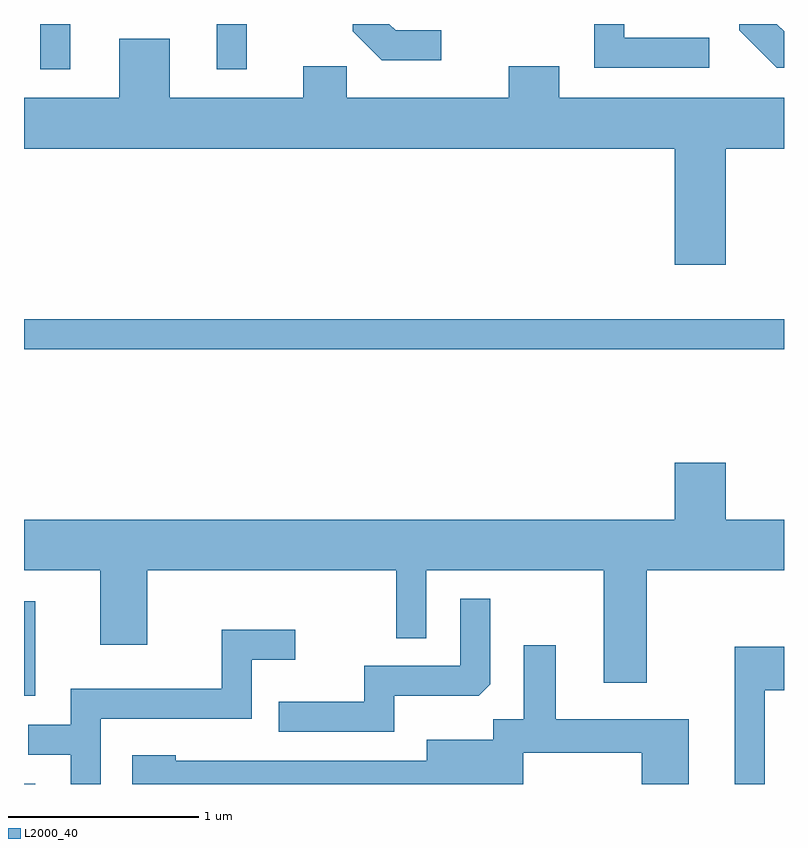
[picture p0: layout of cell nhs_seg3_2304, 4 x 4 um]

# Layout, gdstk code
import gdstk
lib = gdstk.Library(unit=1e-6, precision=1e-09)
def R(c, l, rs):  # rectangles x0, y0, x1, y1
    for r in rs: c.add(gdstk.rectangle(r[:2], r[2:], *l))
def P(c, l, *ps):  # polygons
    for p in ps: c.add(gdstk.Polygon(p, *l))
L2000_40 = (2000, 40)

nhs_seg3_2304 = lib.new_cell('nhs_seg3_2304')
R(nhs_seg3_2304, L2000_40, [(251.611,1235.892,251.669,1235.894), (251.611,1236.356,251.669,1236.854), (251.611,1238.181,255.611,1238.339), (251.696,1239.653,251.854,1239.892), (252.626,1239.653,252.784,1239.892)])
P(nhs_seg3_2304, L2000_40, [(255.218,1239.819),(254.769,1239.819),(254.769,1239.892),(254.611,1239.892),(254.611,1239.661),(255.218,1239.661)],
  [(253.808,1239.859),(253.567,1239.859),(253.534,1239.892),(253.341,1239.892),(253.341,1239.854),(253.494,1239.701),(253.808,1239.701)],
  [(255.611,1239.855),(255.574,1239.892),(255.376,1239.892),(255.376,1239.859),(255.574,1239.661),(255.611,1239.661)],
  [(255.304,1239.236),(255.611,1239.236),(255.611,1239.504),(254.429,1239.504),(254.429,1239.669),(254.161,1239.669),(254.161,1239.504),(253.309,1239.504),(253.309,1239.669),(253.081,1239.669),(253.081,1239.504),(252.379,1239.504),(252.379,1239.814),(252.111,1239.814),(252.111,1239.504),(251.611,1239.504),(251.611,1239.236),(255.036,1239.236),(255.036,1238.626),(255.304,1238.626)],
  [(254.889,1237.016),(255.611,1237.016),(255.611,1237.284),(255.304,1237.284),(255.304,1237.584),(255.036,1237.584),(255.036,1237.284),(251.611,1237.284),(251.611,1237.016),(252.011,1237.016),(252.011,1236.626),(252.259,1236.626),(252.259,1237.016),(253.571,1237.016),(253.571,1236.658),(253.729,1236.658),(253.729,1237.016),(254.661,1237.016),(254.661,1236.426),(254.889,1236.426)],
  [(253.559,1236.356),(254.004,1236.356),(254.013,1236.365),(254.064,1236.417),(254.064,1236.868),(253.906,1236.868),(253.906,1236.514),(253.401,1236.514),(253.401,1236.324),(252.953,1236.324),(252.953,1236.166),(253.559,1236.166)],
  [(252.014,1236.236),(252.809,1236.236),(252.809,1236.546),(253.038,1236.546),(253.038,1236.704),(252.651,1236.704),(252.651,1236.394),(251.856,1236.394),(251.856,1236.204),(251.633,1236.204),(251.633,1236.046),(251.856,1236.046),(251.856,1235.892),(252.014,1235.892)],
  [(254.239,1236.056),(254.861,1236.056),(254.861,1235.892),(255.109,1235.892),(255.109,1236.234),(254.409,1236.234),(254.409,1236.623),(254.241,1236.623),(254.241,1236.234),(254.081,1236.234),(254.081,1236.124),(253.731,1236.124),(253.731,1236.014),(252.409,1236.014),(252.409,1236.044),(252.181,1236.044),(252.181,1235.892),(254.239,1235.892)],
  [(255.509,1236.386),(255.611,1236.386),(255.611,1236.614),(255.351,1236.614),(255.351,1235.892),(255.509,1235.892)])

lib.write_gds('nhs_seg3_2304.gds')
